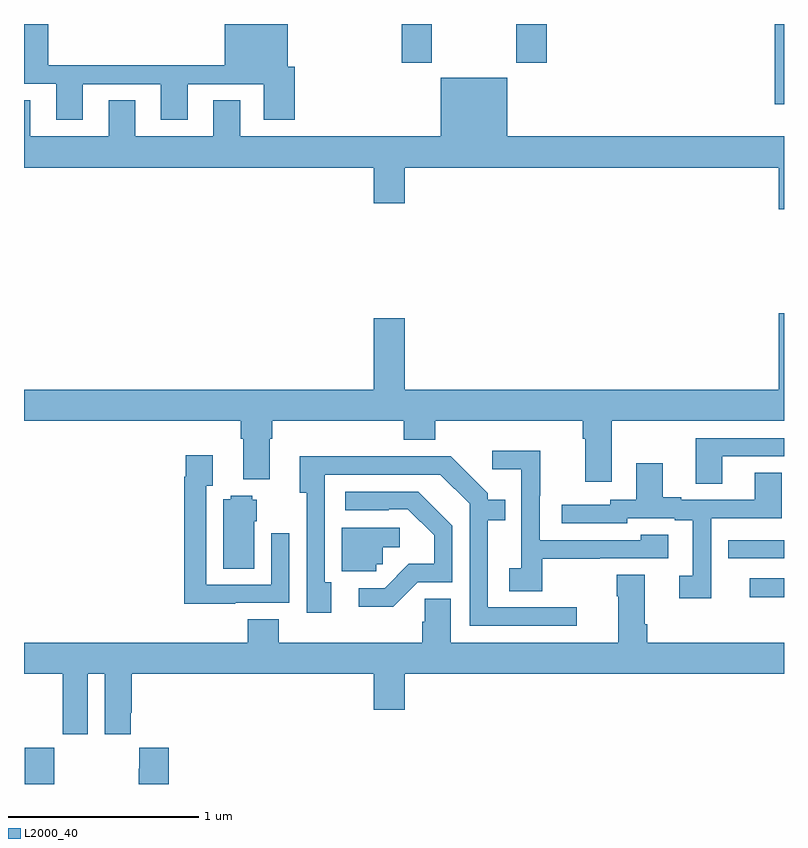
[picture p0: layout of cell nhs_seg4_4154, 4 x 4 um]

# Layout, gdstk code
import gdstk
lib = gdstk.Library(unit=1e-6, precision=1e-09)
def R(c, l, rs):  # rectangles x0, y0, x1, y1
    for r in rs: c.add(gdstk.rectangle(r[:2], r[2:], *l))
def P(c, l, *ps):  # polygons
    for p in ps: c.add(gdstk.Polygon(p, *l))
L2000_40 = (2000, 40)

nhs_seg4_4154 = lib.new_cell('nhs_seg4_4154')
R(nhs_seg4_4154, L2000_40, [(331.003,802.9,331.158,803.092), (334.821,803.884,335,803.982), (334.952,806.478,335,806.9), (332.987,806.697,333.147,806.9), (333.592,806.697,333.752,806.9)])
P(nhs_seg4_4154, L2000_40, [(331.309,806.583),(331.721,806.583),(331.721,806.397),(331.861,806.397),(331.861,806.583),(332.261,806.583),(332.261,806.397),(332.426,806.397),(332.426,806.676),(332.389,806.676),(332.389,806.9),(332.057,806.9),(332.057,806.684),(331.127,806.684),(331.127,806.9),(331,806.9),(331,806.586),(331.169,806.586),(331.169,806.397),(331.309,806.397)],
  [(332.137,806.498),(331.997,806.498),(331.997,806.308),(331.585,806.308),(331.585,806.498),(331.445,806.498),(331.445,806.308),(331.033,806.308),(331.033,806.498),(331,806.498),(331,806.144),(332.84,806.144),(332.84,805.956),(333.004,805.956),(333.004,806.144),(334.973,806.144),(334.973,805.926),(335,805.926),(335,806.308),(333.544,806.308),(333.544,806.617),(333.194,806.617),(333.194,806.308),(332.137,806.308)],
  [(334.093,804.812),(335,804.812),(335,805.378),(334.973,805.378),(334.973,804.976),(333.004,804.976),(333.004,805.351),(332.84,805.351),(332.84,804.976),(331,804.976),(331,804.812),(332.141,804.812),(332.141,804.716),(332.153,804.716),(332.153,804.503),(332.293,804.503),(332.293,804.716),(332.306,804.716),(332.306,804.812),(332.999,804.812),(332.999,804.713),(333.164,804.713),(333.164,804.812),(333.941,804.812),(333.941,804.716),(333.953,804.716),(333.953,804.492),(334.093,804.492)],
  [(334.675,804.624),(335,804.624),(335,804.72),(334.535,804.72),(334.535,804.481),(334.675,804.481)],
  [(333.727,804.085),(334.031,804.085),(334.031,804.087),(334.39,804.087),(334.39,804.211),(334.245,804.211),(334.245,804.183),(333.714,804.183),(333.714,804.416),(333.717,804.416),(333.717,804.655),(333.465,804.655),(333.465,804.557),(333.618,804.557),(333.618,804.036),(333.555,804.036),(333.555,803.914),(333.727,803.914)],
  [(332.113,803.853),(332.397,803.853),(332.397,804.22),(332.301,804.22),(332.301,803.949),(331.959,803.949),(331.959,804.47),(331.993,804.47),(331.993,804.631),(331.851,804.631),(331.851,804.518),(331.843,804.518),(331.843,803.849),(332.113,803.849)],
  [(333.91,803.829),(333.442,803.829),(333.442,804.288),(333.533,804.288),(333.533,804.397),(333.441,804.397),(333.441,804.429),(333.246,804.624),(332.915,804.624),(332.915,804.626),(332.45,804.626),(332.45,804.434),(332.487,804.434),(332.487,803.802),(332.617,803.802),(332.617,803.962),(332.583,803.962),(332.583,804.528),(333.192,804.528),(333.345,804.375),(333.345,803.733),(333.91,803.733)],
  [(334.617,804.3),(334.987,804.3),(334.987,804.539),(334.847,804.539),(334.847,804.396),(334.459,804.396),(334.459,804.409),(334.363,804.409),(334.363,804.589),(334.223,804.589),(334.223,804.396),(334.086,804.396),(334.086,804.369),(333.831,804.369),(333.831,804.273),(334.176,804.273),(334.176,804.3),(334.424,804.3),(334.424,804.288),(334.52,804.288),(334.52,803.997),(334.449,803.997),(334.449,803.877),(334.617,803.877)],
  [(333.072,803.961),(333.255,803.961),(333.255,804.259),(333.076,804.438),(332.691,804.438),(332.691,804.342),(332.921,804.342),(332.921,804.345),(333.021,804.345),(333.158,804.208),(333.158,804.058),(333.025,804.058),(332.898,803.931),(332.763,803.931),(332.763,803.834),(332.944,803.834)],
  [(332.212,804.282),(332.224,804.282),(332.224,804.396),(332.202,804.396),(332.202,804.418),(332.088,804.418),(332.088,804.4),(332.048,804.4),(332.048,804.034),(332.212,804.034)],
  [(332.853,804.057),(332.889,804.057),(332.889,804.146),(332.977,804.146),(332.977,804.249),(332.672,804.249),(332.672,804.021),(332.853,804.021)],
  [(335,804.183),(334.819,804.183),(334.819,804.182),(334.707,804.182),(334.707,804.087),(335,804.087)],
  [(332.84,803.292),(333.004,803.292),(333.004,803.48),(335,803.48),(335,803.644),(334.28,803.644),(334.28,803.74),(334.267,803.74),(334.267,804.001),(334.12,804.001),(334.12,803.888),(334.127,803.888),(334.127,803.644),(333.247,803.644),(333.247,803.876),(333.109,803.876),(333.109,803.754),(333.095,803.754),(333.095,803.644),(332.342,803.644),(332.342,803.768),(332.177,803.768),(332.177,803.644),(331,803.644),(331,803.48),(331.205,803.48),(331.205,803.163),(331.336,803.163),(331.336,803.48),(331.424,803.48),(331.424,803.163),(331.561,803.163),(331.561,803.275),(331.568,803.275),(331.568,803.48),(332.84,803.48)],
  [(331.763,803.092),(331.607,803.092),(331.607,802.979),(331.603,802.979),(331.603,802.9),(331.763,802.9)])

lib.write_gds('nhs_seg4_4154.gds')
